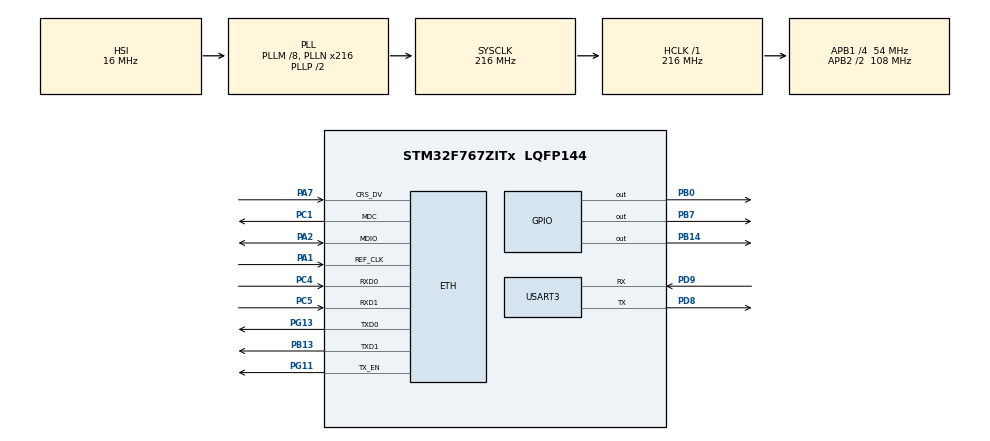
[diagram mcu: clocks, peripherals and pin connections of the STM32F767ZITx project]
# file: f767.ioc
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ETH.MediaInterface=HAL_ETH_RMII_MODE
FREERTOS.Tasks01=defaultTask,24,2048,StartDefaultTask,Default,NULL,Dynamic,NULL,NULL
FREERTOS.configTOTAL_HEAP_SIZE=65536
FREERTOS.configUSE_NEWLIB_REENTRANT=1
Mcu.Family=STM32F7
Mcu.Name=STM32F767ZITx
Mcu.Package=LQFP144
NVIC.ETH_IRQn=true\:5\:0\:false\:false\:false\:true\:true\:false\:true
NVIC.PriorityGroup=NVIC_PRIORITYGROUP_4
NVIC.TIM6_DAC_IRQn=true\:15\:0\:false\:false\:true\:false\:false\:true\:true
NVIC.TimeBase=TIM6_DAC_IRQn
NVIC.TimeBaseIP=TIM6
PA1.Mode=RMII
PA1.Signal=ETH_REF_CLK
PA2.Mode=RMII
PA2.Signal=ETH_MDIO
PA7.Mode=RMII
PA7.Signal=ETH_CRS_DV
PB0.Signal=GPIO_Output
PB13.Mode=RMII
PB13.Signal=ETH_TXD1
PB14.Signal=GPIO_Output
PB7.Signal=GPIO_Output
PC1.Mode=RMII
PC1.Signal=ETH_MDC
PC4.Mode=RMII
PC4.Signal=ETH_RXD0
PC5.Mode=RMII
PC5.Signal=ETH_RXD1
PD8.Mode=Asynchronous
PD8.Signal=USART3_TX
PD9.Mode=Asynchronous
PD9.Signal=USART3_RX
PG11.Mode=RMII
PG11.Signal=ETH_TX_EN
PG13.Mode=RMII
PG13.Signal=ETH_TXD0
ProjectManager.HeapSize=0x200
ProjectManager.StackSize=0x400
ProjectManager.TargetToolchain=STM32CubeIDE
RCC.48MHZClocksFreq_Value=45000000
RCC.AHBFreq_Value=216000000
RCC.APB1CLKDivider=RCC_HCLK_DIV4
RCC.APB1Freq_Value=54000000
RCC.APB1TimFreq_Value=108000000
RCC.APB2CLKDivider=RCC_HCLK_DIV2
RCC.APB2Freq_Value=108000000
RCC.APB2TimFreq_Value=216000000
RCC.CortexFreq_Value=216000000
RCC.HCLKFreq_Value=216000000
RCC.HSE_VALUE=25000000
RCC.HSI_VALUE=16000000
RCC.LSE_VALUE=32768
RCC.PLLM=8
RCC.PLLN=216
RCC.PLLQ=9
RCC.SYSCLKFreq_VALUE=216000000
RCC.SYSCLKSource=RCC_SYSCLKSOURCE_PLLCLK
RCC.USBFreq_Value=48000000
RCC.VCOOutputFreq_Value=432000000
USART3.VirtualMode=VM_ASYNC
USART3.VirtualMode-Asynchronous=VM_ASYNC
VP_FREERTOS_VS_CMSIS_V2.Mode=CMSIS_V2
VP_RNG_VS_RNG.Mode=RNG_Activate
VP_SYS_VS_tim6.Mode=TIM6
board=custom

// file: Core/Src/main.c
/* USER CODE BEGIN Header */
/**
  ******************************************************************************
  * @file           : main.c
  * @brief          : Main program body
  ******************************************************************************
  * @attention
  *
  * Copyright (c) 2024 STMicroelectronics.
  * All rights reserved.
  *
  * This software is licensed under terms that can be found in the LICENSE file
  * in the root directory of this software component.
  * If no LICENSE file comes with this software, it is provided AS-IS.
  *
  ******************************************************************************
  */
/* USER CODE END Header */
#include "main.h"
#include "string.h"
#include "cmsis_os.h"
#include <task.h>
#include "../SEGGER/SEGGER_RTT.h"

/* USER CODE BEGIN Includes */
#include "mongoose_glue.h"
/* USER CODE END Includes */

/* USER CODE BEGIN PD */

#define IP_X(ip) (int)((ip) >> 24) & 255, (int)((ip) >> 16) & 255, (int)((ip) >> 8) & 255, (int)(ip) & 255

/* USER CODE END PD */

#if defined ( __ICCARM__ ) /*!< IAR Compiler */
#pragma location=0x2007c000
ETH_DMADescTypeDef  DMARxDscrTab[ETH_RX_DESC_CNT]; /* Ethernet Rx DMA Descriptors */
#pragma location=0x2007c0a0
ETH_DMADescTypeDef  DMATxDscrTab[ETH_TX_DESC_CNT]; /* Ethernet Tx DMA Descriptors */

#elif defined ( __CC_ARM )  /* MDK ARM Compiler */

__attribute__((at(0x2007c000))) ETH_DMADescTypeDef  DMARxDscrTab[ETH_RX_DESC_CNT]; /* Ethernet Rx DMA Descriptors */
__attribute__((at(0x2007c0a0))) ETH_DMADescTypeDef  DMATxDscrTab[ETH_TX_DESC_CNT]; /* Ethernet Tx DMA Descriptors */

#elif defined ( __GNUC__ ) /* GNU Compiler */

ETH_DMADescTypeDef DMARxDscrTab[ETH_RX_DESC_CNT] __attribute__((section(".RxDecripSection"))); /* Ethernet Rx DMA Descriptors */
ETH_DMADescTypeDef DMATxDscrTab[ETH_TX_DESC_CNT] __attribute__((section(".TxDecripSection")));   /* Ethernet Tx DMA Descriptors */
#endif

ETH_TxPacketConfig TxConfig;

ETH_HandleTypeDef heth;

RNG_HandleTypeDef hrng;

UART_HandleTypeDef huart3;

/* Definitions for defaultTask */
osThreadId_t defaultTaskHandle;
const osThreadAttr_t defaultTask_attributes = {
  .name = "defaultTask",
  .stack_size = 2048 * 4,
  .priority = (osPriority_t) osPriorityNormal,
};
/* USER CODE BEGIN PV */

/* Definitions for TaskBlinker */
osThreadId_t taskBlinkerHandle;
const osThreadAttr_t taskBlinker_attributes = {
  .name = "BlinkBlue",
  .stack_size = 256 * 4,     // 1024 bytes is plenty for toggling a GPIO
  .priority = (osPriority_t) osPriorityBelowNormal, // Slightly lower than defaultTask
};

/* USER CODE END PV */

void SystemClock_Config(void);
static void MX_GPIO_Init(void);
static void MX_ETH_Init(void);
static void MX_RNG_Init(void);
static void MX_USART3_UART_Init(void);
void StartDefaultTask(void *argument);

/* USER CODE BEGIN PFP */

void TaskBlinker(void *argument);

// Custom log callback that matches Mongoose's mg_log_fn_t signature
void rtt_mongoose_log_callback(char ch, void *param) {
    (void)param; // Unused parameter

    static char line_buffer[128];
    static size_t index = 0;

    // Buffer the character until a newline or buffer limit is hit
    if (index < sizeof(line_buffer) - 1) {
        line_buffer[index++] = ch;
    }

    if (ch == '\n' || index >= sizeof(line_buffer) - 1) {
        line_buffer[index] = '\0'; // Null-terminate string
        SEGGER_RTT_printf(0, "%s", line_buffer); // Ship line to RTT
        index = 0; // Reset index for the next log entry
    }
}

/* USER CODE END PFP */

/* USER CODE BEGIN 0 */
bool mg_random(void *buf, size_t len) {  // Use on-board RNG
  for (size_t n = 0; n < len; n += sizeof(uint32_t)) {
    uint32_t r;
    HAL_RNG_GenerateRandomNumber(&hrng, &r);
    memcpy((char *) buf + n, &r, n + sizeof(r) > len ? len - n : sizeof(r));
  }
  return true; // TODO(): ensure successful RNG init, then return on false above
}

/* USER CODE END 0 */

int main(void)
{

  /* MCU Configuration--------------------------------------------------------*/

  /* Reset of all peripherals, Initializes the Flash interface and the Systick. */
  HAL_Init();

  /* Configure the system clock */
  SystemClock_Config();

  /* Initialize all configured peripherals */
  MX_GPIO_Init();
  MX_ETH_Init();
  MX_RNG_Init();
  MX_USART3_UART_Init();

  /* Init scheduler */
  osKernelInitialize();

  /* Create the thread(s) */
  /* creation of defaultTask */
  defaultTaskHandle = osThreadNew(StartDefaultTask, NULL, &defaultTask_attributes);

  /* USER CODE BEGIN RTOS_THREADS */
  /* add threads, ... */
  taskBlinkerHandle = osThreadNew(TaskBlinker, NULL, &taskBlinker_attributes);
  /* USER CODE END RTOS_THREADS */

  /* Start scheduler */
  osKernelStart();

  /* We should never get here as control is now taken by the scheduler */

  /* Infinite loop */
  while (1)
  {

  }
}

void SystemClock_Config(void)
{
  RCC_OscInitTypeDef RCC_OscInitStruct = {0};
  RCC_ClkInitTypeDef RCC_ClkInitStruct = {0};

  /** Configure the main internal regulator output voltage
  */
  __HAL_RCC_PWR_CLK_ENABLE();
  __HAL_PWR_VOLTAGESCALING_CONFIG(PWR_REGULATOR_VOLTAGE_SCALE1);

  /** Initializes the RCC Oscillators according to the specified parameters
  * in the RCC_OscInitTypeDef structure.
  */
  RCC_OscInitStruct.OscillatorType = RCC_OSCILLATORTYPE_HSI;
  RCC_OscInitStruct.HSIState = RCC_HSI_ON;
  RCC_OscInitStruct.HSICalibrationValue = RCC_HSICALIBRATION_DEFAULT;
  RCC_OscInitStruct.PLL.PLLState = RCC_PLL_ON;
  RCC_OscInitStruct.PLL.PLLSource = RCC_PLLSOURCE_HSI;
  RCC_OscInitStruct.PLL.PLLM = 8;
  RCC_OscInitStruct.PLL.PLLN = 216;
  RCC_OscInitStruct.PLL.PLLP = RCC_PLLP_DIV2;
  RCC_OscInitStruct.PLL.PLLQ = 9;
  RCC_OscInitStruct.PLL.PLLR = 2;
  if (HAL_RCC_OscConfig(&RCC_OscInitStruct) != HAL_OK)
  {
    Error_Handler();
  }

  /** Activate the Over-Drive mode
  */
  if (HAL_PWREx_EnableOverDrive() != HAL_OK)
  {
    Error_Handler();
  }

  /** Initializes the CPU, AHB and APB buses clocks
  */
  RCC_ClkInitStruct.ClockType = RCC_CLOCKTYPE_HCLK|RCC_CLOCKTYPE_SYSCLK
                              |RCC_CLOCKTYPE_PCLK1|RCC_CLOCKTYPE_PCLK2;
  RCC_ClkInitStruct.SYSCLKSource = RCC_SYSCLKSOURCE_PLLCLK;
  RCC_ClkInitStruct.AHBCLKDivider = RCC_SYSCLK_DIV1;
  RCC_ClkInitStruct.APB1CLKDivider = RCC_HCLK_DIV4;
  RCC_ClkInitStruct.APB2CLKDivider = RCC_HCLK_DIV2;

  if (HAL_RCC_ClockConfig(&RCC_ClkInitStruct, FLASH_LATENCY_7) != HAL_OK)
  {
    Error_Handler();
  }
}

static void MX_ETH_Init(void)
{

   static uint8_t MACAddr[6];

  heth.Instance = ETH;
  MACAddr[0] = 0x00;
  MACAddr[1] = 0x80;
  MACAddr[2] = 0xE1;
  MACAddr[3] = 0x00;
  MACAddr[4] = 0x00;
  MACAddr[5] = 0x00;
  heth.Init.MACAddr = &MACAddr[0];
  heth.Init.MediaInterface = HAL_ETH_RMII_MODE;
  heth.Init.TxDesc = DMATxDscrTab;
  heth.Init.RxDesc = DMARxDscrTab;
  heth.Init.RxBuffLen = 1524;

  if (HAL_ETH_Init(&heth) != HAL_OK)
  {
    Error_Handler();
  }

  memset(&TxConfig, 0 , sizeof(ETH_TxPacketConfig));
  TxConfig.Attributes = ETH_TX_PACKETS_FEATURES_CSUM | ETH_TX_PACKETS_FEATURES_CRCPAD;
  TxConfig.ChecksumCtrl = ETH_CHECKSUM_IPHDR_PAYLOAD_INSERT_PHDR_CALC;
  TxConfig.CRCPadCtrl = ETH_CRC_PAD_INSERT;

}

static void MX_RNG_Init(void)
{

  hrng.Instance = RNG;
  if (HAL_RNG_Init(&hrng) != HAL_OK)
  {
    Error_Handler();
  }

}

static void MX_USART3_UART_Init(void)
{

  huart3.Instance = USART3;
  huart3.Init.BaudRate = 115200;
  huart3.Init.WordLength = UART_WORDLENGTH_8B;
  huart3.Init.StopBits = UART_STOPBITS_1;
  huart3.Init.Parity = UART_PARITY_NONE;
  huart3.Init.Mode = UART_MODE_TX_RX;
  huart3.Init.HwFlowCtl = UART_HWCONTROL_NONE;
  huart3.Init.OverSampling = UART_OVERSAMPLING_16;
  huart3.Init.OneBitSampling = UART_ONE_BIT_SAMPLE_DISABLE;
  huart3.AdvancedInit.AdvFeatureInit = UART_ADVFEATURE_NO_INIT;
  if (HAL_UART_Init(&huart3) != HAL_OK)
  {
    Error_Handler();
  }

}

static void MX_GPIO_Init(void)
{
  GPIO_InitTypeDef GPIO_InitStruct = {0};

  /* GPIO Ports Clock Enable */
  __HAL_RCC_GPIOC_CLK_ENABLE();
  __HAL_RCC_GPIOA_CLK_ENABLE();
  __HAL_RCC_GPIOB_CLK_ENABLE();
  __HAL_RCC_GPIOD_CLK_ENABLE();
  __HAL_RCC_GPIOG_CLK_ENABLE();

  /*Configure GPIO pin Output Level */
  HAL_GPIO_WritePin(GPIOB, GPIO_PIN_0|GPIO_PIN_14|GPIO_PIN_7, GPIO_PIN_RESET);

  /*Configure GPIO pins : PB0 PB14 PB7 */
  GPIO_InitStruct.Pin = GPIO_PIN_0|GPIO_PIN_14|GPIO_PIN_7;
  GPIO_InitStruct.Mode = GPIO_MODE_OUTPUT_PP;
  GPIO_InitStruct.Pull = GPIO_NOPULL;
  GPIO_InitStruct.Speed = GPIO_SPEED_FREQ_LOW;
  HAL_GPIO_Init(GPIOB, &GPIO_InitStruct);

}

void StartDefaultTask(void *argument)
{
  /* USER CODE BEGIN 5 */
  mongoose_init();

  mg_log_set_fn(rtt_mongoose_log_callback, NULL);
  mg_log_set(MG_LL_INFO);
  for (;;) {
    mongoose_poll();
    osDelay(1);
  }
  /* USER CODE END 5 */
}

void HAL_TIM_PeriodElapsedCallback(TIM_HandleTypeDef *htim)
{
  if (htim->Instance == TIM6) {
    HAL_IncTick();
  }
}

void Error_Handler(void)
{
  __disable_irq();
  while (1)
  {
  }
}
